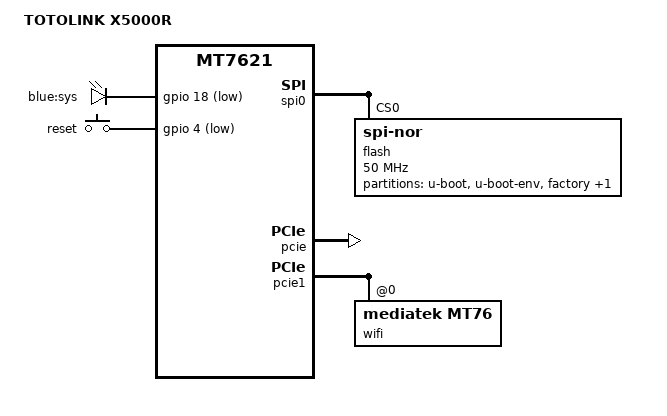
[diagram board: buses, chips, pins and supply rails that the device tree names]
// SPDX-License-Identifier: GPL-2.0-or-later OR MIT

#include "mt7621.dtsi"

#include <dt-bindings/gpio/gpio.h>
#include <dt-bindings/input/input.h>

/ {
	compatible = "totolink,x5000r", "mediatek,mt7621-soc";
	model = "TOTOLINK X5000R";

	aliases {
		led-boot = &led_sys;
		led-failsafe = &led_sys;
		led-running = &led_sys;
		led-upgrade = &led_sys;
		label-mac-device = &gmac0;
	};

	chosen {
		stdout-path = "serial0:115200n8";
		bootargs = "console=ttyS0,115200n8";
	};

	leds {
		compatible = "gpio-leds";

		led_sys: sys {
			label = "blue:sys";
			gpios = <&gpio 18 GPIO_ACTIVE_LOW>;
		};
	};

	keys {
		compatible = "gpio-keys";

		reset {
			label = "reset";
			gpios = <&gpio 4 GPIO_ACTIVE_LOW>;
			debounce-interval = <60>;
			linux,code = <KEY_RESTART>;
		};
	};
};

&spi0 {
	status = "okay";

	flash@0 {
		compatible = "jedec,spi-nor";
		reg = <0>;
		spi-max-frequency = <50000000>;
		m25p,fast-read;

		partitions {
			compatible = "fixed-partitions";
			#address-cells = <1>;
			#size-cells = <1>;

			partition@0 {
				label = "u-boot";
				reg = <0x0 0x30000>;
				read-only;
			};

			partition@30000 {
				label = "u-boot-env";
				reg = <0x30000 0x10000>;
				read-only;
			};

			factory: partition@40000 {
				label = "factory";
				reg = <0x40000 0x10000>;
				read-only;
			};

			partition@50000 {
				compatible = "denx,uimage";
				label = "firmware";
				reg = <0x50000 0xfb0000>;
			};
		};
	};
};

&pcie {
	status = "okay";
};

&pcie1 {
	wifi@0,0 {
		compatible = "mediatek,mt76";
		reg = <0x0000 0 0 0 0>;
		mediatek,mtd-eeprom = <&factory 0x0000>;
	};
};

&gmac0 {
	mtd-mac-address = <&factory 0xe000>;
};

&switch0 {
	ports {
		port@0 {
			status = "okay";
			label = "lan1";
		};

		port@1 {
			status = "okay";
			label = "lan2";
		};

		port@2 {
			status = "okay";
			label = "lan3";
		};

		port@3 {
			status = "okay";
			label = "lan4";
		};

		port@4 {
			status = "okay";
			label = "wan";
			mtd-mac-address = <&factory 0xe006>;
		};
	};
};

&state_default {
	gpio {
		groups = "i2c", "wdt";
		function = "gpio";
	};
};
